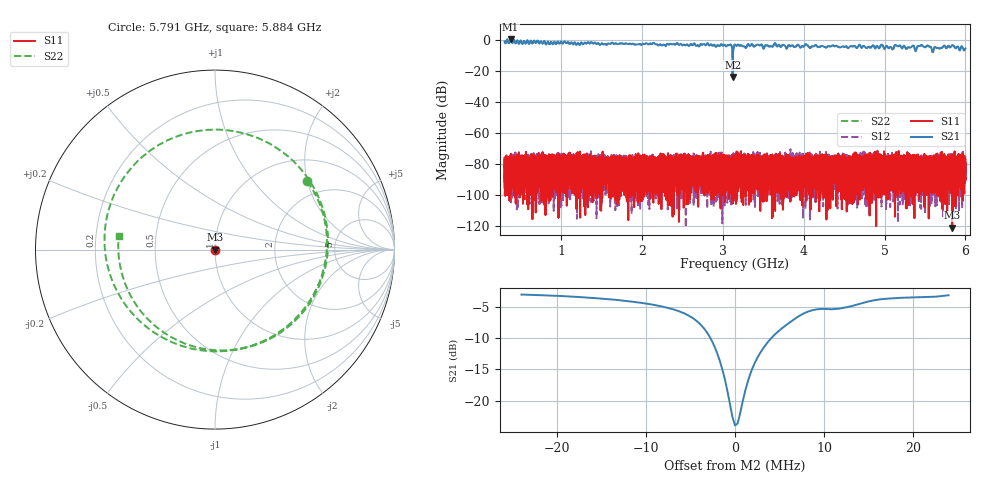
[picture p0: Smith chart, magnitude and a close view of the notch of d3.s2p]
!Agilent Technologies,N5230C,SG49000117,A.08.50.07
!Agilent N5230C: A.08.50.07
!Date: Sunday, March 17, 2024 02:20:04
!Correction: S11(Off)
!S21(Off)
!S12(Off)
!S22(Off)
!S2P File: Measurements: S11, S21, S12, S22:
# Hz S  RI  R 50
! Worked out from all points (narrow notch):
!   20001 points, 300 MHz to 6 GHz, reference 50 ohm
!   highest |S21| = 0.47 dB at 374.1 MHz (marker M1); lowest = -23.9 dB at 3.121 GHz (marker M2)
!   notch at M2: 20.5 dB deep, 4 MHz wide at half that depth
!   lowest |S11| = -120.8 dB at 5.836 GHz (marker M3), VSWR 1.00, Z = 50 + j9.08e-05 ohm
!   |S11| at or under -10 dB: start of sweep to end of sweep
!   |S22| runs from -23.9 to 0.5 dB; largest |S21 - S12| = 1.1
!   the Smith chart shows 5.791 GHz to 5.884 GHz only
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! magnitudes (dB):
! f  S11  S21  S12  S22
! 300 MHz  -95.5  -0.9  -80.5  -0.9
! 374.1 MHz  -87.5  0.5  -77.8  0.5
! 1.25 GHz  -86.8  -1.7  -81.3  -1.7
! 2.2 GHz  -88.1  -3.5  -81.0  -3.5
! 3.079 GHz  -86.8  -3.4  -83.1  -3.4
! 3.099 GHz  -88.4  -3.2  -81.5  -3.1
! 3.121 GHz  -81.0  -23.9  -82.2  -23.9
! 3.15 GHz  -88.8  -3.0  -80.6  -2.9
! 3.167 GHz  -83.8  -3.9  -90.8  -3.9
! 3.269 GHz  -83.4  -4.3  -79.5  -4.2
! 3.453 GHz  -85.5  -3.6  -88.2  -3.6
! 3.975 GHz  -83.5  -4.1  -74.1  -4.0
! 4.033 GHz  -96.9  -2.8  -72.7  -2.7
! 4.1 GHz  -82.9  -4.2  -78.2  -4.1
! 5.05 GHz  -81.8  -5.4  -88.1  -5.3
! 5.157 GHz  -82.7  -4.0  -85.0  -4.0
! 5.392 GHz  -76.6  -6.6  -82.4  -6.6
! 5.451 GHz  -81.8  -3.5  -76.9  -3.5
! 5.547 GHz  -79.4  -4.1  -80.1  -4.2
! 5.606 GHz  -86.7  -6.5  -97.1  -6.5
! 5.836 GHz  -120.8  -3.5  -99.0  -3.5
! 6 GHz  -79.8  -5.5  -79.0  -5.6
